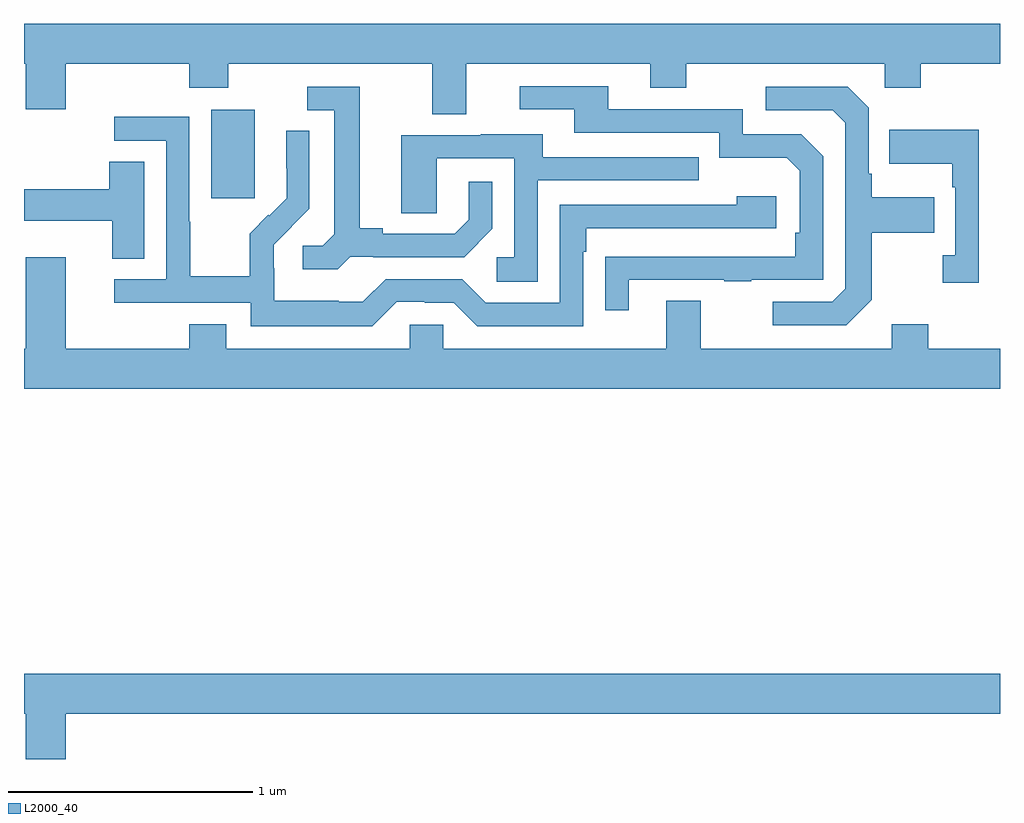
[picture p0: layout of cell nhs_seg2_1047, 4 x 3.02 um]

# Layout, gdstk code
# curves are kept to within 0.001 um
import gdstk
lib = gdstk.Library(unit=1e-6, precision=1e-09)
def R(c, l, rs):  # rectangles x0, y0, x1, y1
    for r in rs: c.add(gdstk.rectangle(r[:2], r[2:], *l))
def P(c, l, *ps):  # polygons
    for p in ps: c.add(gdstk.Polygon(p, *l))
L2000_40 = (2000, 40)

nhs_seg2_1047 = lib.new_cell('nhs_seg2_1047')
R(nhs_seg2_1047, L2000_40, [(165.767,632.433,165.946,632.794)])
P(nhs_seg2_1047, L2000_40, [(166.813,632.984),(167.567,632.984),(167.567,632.885),(167.715,632.885),(167.715,632.984),(168.528,632.984),(168.528,632.885),(168.675,632.885),(168.675,632.984),(169,632.984),(169,633.148),(165,633.148),(165,632.984),(165.008,632.984),(165.008,632.796),(165.172,632.796),(165.172,632.984),(165.677,632.984),(165.677,632.885),(165.837,632.885),(165.837,632.984),(166.673,632.984),(166.673,632.776),(166.813,632.776)],
  [(167.479,632.097),(167.869,632.097),(167.869,632.092),(167.981,632.092),(167.981,632.097),(168.276,632.097),(168.276,632.604),(168.186,632.694),(167.946,632.694),(167.946,632.796),(167.395,632.796),(167.395,632.892),(167.031,632.892),(167.031,632.796),(167.255,632.796),(167.255,632.7),(167.85,632.7),(167.85,632.597),(168.127,632.597),(168.18,632.544),(168.18,632.29),(168.16,632.29),(168.16,632.193),(167.383,632.192),(167.383,631.974),(167.479,631.974)],
  [(168.475,632.017),(168.475,632.29),(168.731,632.29),(168.731,632.437),(168.475,632.437),(168.475,632.533),(168.462,632.533),(168.462,632.802),(168.375,632.889),(168.039,632.889),(168.039,632.793),(168.315,632.793),(168.366,632.742),(168.366,632.061),(168.312,632.007),(168.069,632.007),(168.069,631.911),(168.369,631.911)],
  [(166.338,632.193),(166.432,632.193),(166.432,632.19),(166.804,632.19),(166.92,632.306),(166.92,632.5),(166.823,632.5),(166.823,632.343),(166.766,632.286),(166.471,632.286),(166.471,632.309),(166.375,632.309),(166.375,632.889),(166.161,632.889),(166.161,632.793),(166.271,632.793),(166.271,632.285),(166.224,632.238),(166.143,632.238),(166.143,632.141),(166.286,632.141)],
  [(166.527,632.007),(166.643,632.007),(166.643,632.004),(166.761,632.004),(166.857,631.908),(167.292,631.908),(167.292,632.213),(167.305,632.213),(167.305,632.31),(168.082,632.31),(168.082,632.44),(167.921,632.44),(167.921,632.406),(167.196,632.406),(167.196,632.004),(166.893,632.004),(166.797,632.1),(166.482,632.1),(166.389,632.007),(166.289,632.007),(166.289,632.011),(166.026,632.011),(166.026,632.145),(166.024,632.145),(166.024,632.242),(166.17,632.39),(166.17,632.708),(166.074,632.708),(166.074,632.554),(166.076,632.554),(166.076,632.432),(166.005,632.361),(166.002,632.364),(165.925,632.287),(165.925,632.113),(165.681,632.113),(165.681,632.336),(165.678,632.336),(165.678,632.766),(165.369,632.766),(165.369,632.667),(165.582,632.667),(165.582,632.1),(165.369,632.1),(165.369,632.004),(165.93,632.004),(165.93,631.907),(166.427,631.907)],
  [(168.913,632.315),(168.912,632.315),(168.912,632.713),(168.547,632.713),(168.547,632.573),(168.804,632.573),(168.804,632.477),(168.816,632.477),(168.816,632.198),(168.765,632.198),(168.765,632.085),(168.913,632.085)],
  [(167.106,632.505),(167.765,632.505),(167.765,632.601),(167.125,632.601),(167.125,632.695),(166.871,632.695),(166.871,632.691),(166.547,632.691),(166.547,632.371),(166.692,632.371),(166.692,632.595),(167.01,632.595),(167.01,632.19),(166.938,632.19),(166.938,632.089),(167.106,632.089)],
  [(165.493,632.582),(165.35,632.582),(165.35,632.469),(165,632.469),(165,632.339),(165.362,632.339),(165.362,632.185),(165.493,632.185)],
  [(169,631.816),(168.705,631.816),(168.705,631.915),(168.557,631.915),(168.557,631.816),(167.773,631.816),(167.773,632.011),(167.633,632.011),(167.633,631.816),(166.719,631.816),(166.719,631.914),(166.581,631.914),(166.581,631.816),(165.829,631.816),(165.829,631.915),(165.677,631.915),(165.677,631.816),(165.172,631.816),(165.172,632.191),(165.008,632.191),(165.008,631.816),(165,631.816),(165,631.652),(169,631.652)],
  [(165.172,630.32),(169,630.32),(169,630.484),(165,630.484),(165,630.32),(165.008,630.32),(165.008,630.132),(165.172,630.132)])

lib.write_gds('nhs_seg2_1047.gds')
